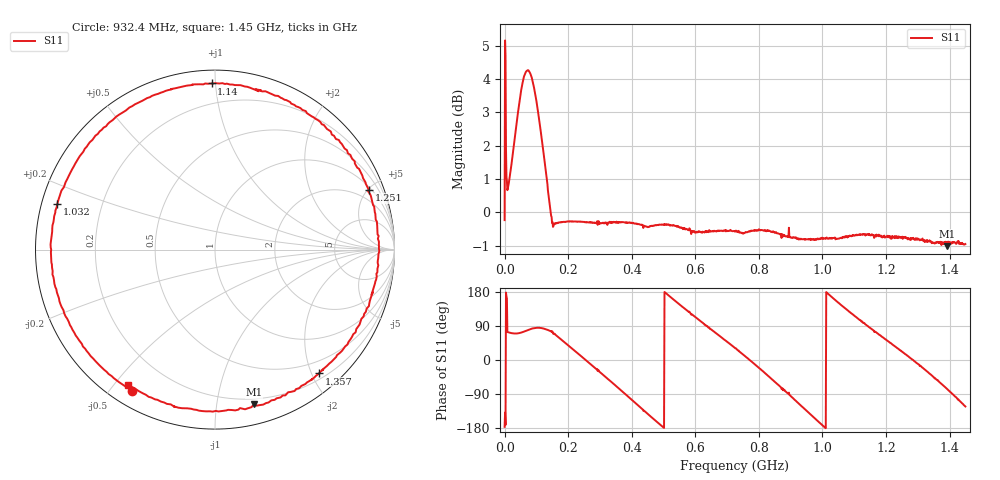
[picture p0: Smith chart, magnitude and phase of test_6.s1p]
! Created with skrf 1.11.0 (http://scikit-rf.org).
# Hz S RI R 50.0
!freq ReS11 ImS11
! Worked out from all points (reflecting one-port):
!   1001 points, 50 kHz to 1.45 GHz, reference 50 ohm
!   lowest |S11| = -1.0 dB at 1.392 GHz (marker M1), VSWR 17.11, Z = 7.69 - j63.5 ohm
!   phase of S11 starts at -176 deg and turns -1026 deg over the sweep
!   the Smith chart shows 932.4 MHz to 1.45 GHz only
!   S11 on the Smith chart (normalised r, x): 932.4 MHz: 0.06, -0.57; 1.032 GHz: 0.05, +0.14; 1.14 GHz: 0.08, +0.98; 1.251 GHz: 1.18, +5.08; 1.357 GHz: 0.29, -2.11; 1.45 GHz: 0.07, -0.54
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50000  -0.9715 -0.06
1.599945e7  0.3471 1.075
6.819765e7  0.3542 1.588
1.16046e8  0.1304 1.291
1.812938e8  0.5985 0.7595
2.262422e8  0.9085 0.3354
2.697407e8  0.9507 -0.174
3.625375e8  0.211 -0.9422
4.103858e8  -0.368 -0.8891
4.64034e8  -0.8451 -0.4442
5.437812e8  -0.8312 0.4626
6.36578e8  0.00958 0.9358
7.25025e8  0.7963 0.4905
8.062222e8  0.852 -0.3966
8.598704e8  0.3976 -0.8409
9.062688e8  -0.1555 -0.9033
9.323678e8  -0.462 -0.7874
9.84566e8  -0.8606 -0.3054
1.032414e9  -0.8788 0.254
1.087512e9  -0.5336 0.7523
1.139711e9  -0.0185 0.9255
1.190459e9  0.4637 0.7942
1.251357e9  0.857 0.3324
1.268756e9  0.8955 0.1662
1.310805e9  0.8707 -0.2613
1.357203e9  0.5792 -0.6902
1.392002e9  0.2169 -0.8627
1.45e9  -0.4843 -0.754
